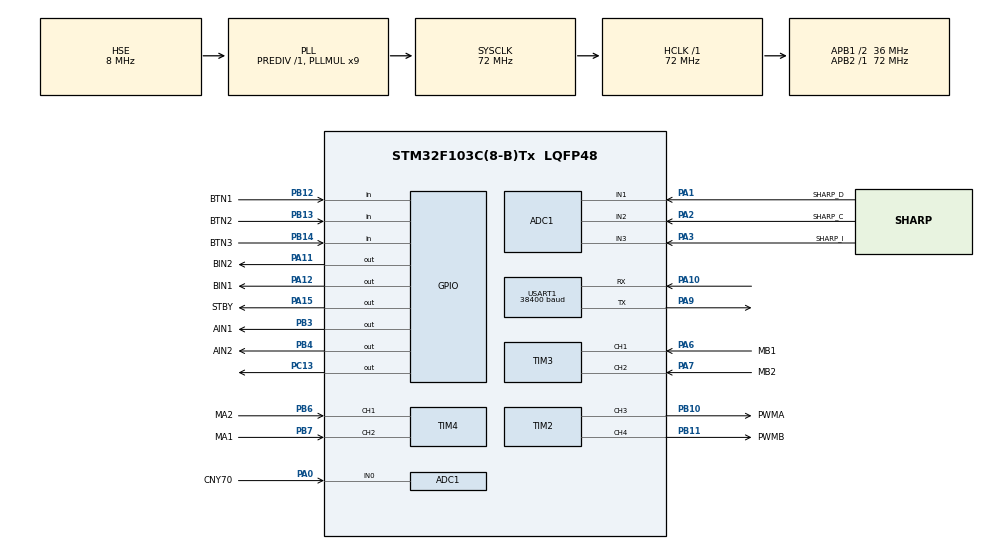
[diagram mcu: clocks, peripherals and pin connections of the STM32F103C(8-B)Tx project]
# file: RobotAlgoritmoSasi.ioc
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ADC1.Channel-1\#ChannelRegularConversion=ADC_CHANNEL_0
ADC1.Channel-2\#ChannelRegularConversion=ADC_CHANNEL_1
ADC1.Channel-3\#ChannelRegularConversion=ADC_CHANNEL_2
ADC1.Channel-4\#ChannelRegularConversion=ADC_CHANNEL_3
ADC1.ContinuousConvMode=ENABLE
ADC1.DiscontinuousConvMode=DISABLE
ADC1.EnableRegularConversion=ENABLE
ADC1.NbrOfConversion=4
ADC1.NbrOfConversionFlag=1
ADC1.Rank-1\#ChannelRegularConversion=1
ADC1.Rank-2\#ChannelRegularConversion=2
ADC1.Rank-3\#ChannelRegularConversion=3
ADC1.Rank-4\#ChannelRegularConversion=4
ADC1.SamplingTime-1\#ChannelRegularConversion=ADC_SAMPLETIME_71CYCLES_5
ADC1.SamplingTime-2\#ChannelRegularConversion=ADC_SAMPLETIME_71CYCLES_5
ADC1.SamplingTime-3\#ChannelRegularConversion=ADC_SAMPLETIME_71CYCLES_5
ADC1.SamplingTime-4\#ChannelRegularConversion=ADC_SAMPLETIME_71CYCLES_5
ADC1.master=1
Dma.ADC1.0.Direction=DMA_PERIPH_TO_MEMORY
Dma.ADC1.0.Instance=DMA1_Channel1
Dma.ADC1.0.MemDataAlignment=DMA_MDATAALIGN_WORD
Dma.ADC1.0.MemInc=DMA_MINC_ENABLE
Dma.ADC1.0.Mode=DMA_CIRCULAR
Dma.ADC1.0.PeriphDataAlignment=DMA_PDATAALIGN_WORD
Dma.ADC1.0.PeriphInc=DMA_PINC_DISABLE
Dma.ADC1.0.Priority=DMA_PRIORITY_LOW
Dma.Request0=ADC1
Mcu.Family=STM32F1
Mcu.Name=STM32F103C(8-B)Tx
Mcu.Package=LQFP48
NVIC.DMA1_Channel1_IRQn=true\:0\:0\:false\:false\:true\:false\:true\:true
NVIC.PriorityGroup=NVIC_PRIORITYGROUP_4
NVIC.USART1_IRQn=true\:0\:0\:false\:false\:true\:true\:true\:true
PA0-WKUP.GPIO_Label=CNY70
PA0-WKUP.Signal=ADCx_IN0
PA1.GPIO_Label=SHARP_D
PA1.Signal=ADCx_IN1
PA10.Mode=Asynchronous
PA10.Signal=USART1_RX
PA11.GPIO_Label=BIN2
PA11.Signal=GPIO_Output
PA12.GPIO_Label=BIN1
PA12.Signal=GPIO_Output
PA13.Mode=Serial_Wire
PA13.Signal=SYS_JTMS-SWDIO
PA14.Mode=Serial_Wire
PA14.Signal=SYS_JTCK-SWCLK
PA15.GPIO_Label=STBY
PA15.Signal=GPIO_Output
PA2.GPIO_Label=SHARP_C
PA2.Signal=ADCx_IN2
PA3.GPIO_Label=SHARP_I
PA3.Signal=ADCx_IN3
PA6.GPIO_Label=MB1
PA6.Signal=S_TIM3_CH1
PA7.GPIO_Label=MB2
PA7.Signal=S_TIM3_CH2
PA9.Mode=Asynchronous
PA9.Signal=USART1_TX
PB10.GPIO_Label=PWMA
PB10.Signal=S_TIM2_CH3
PB11.GPIO_Label=PWMB
PB11.Signal=S_TIM2_CH4
PB12.GPIO_Label=BTN1
PB12.Signal=GPIO_Input
PB13.GPIO_Label=BTN2
PB13.Signal=GPIO_Input
PB14.GPIO_Label=BTN3
PB14.Signal=GPIO_Input
PB3.GPIO_Label=AIN1
PB3.Signal=GPIO_Output
PB4.GPIO_Label=AIN2
PB4.Signal=GPIO_Output
PB6.GPIO_Label=MA2
PB6.GPIO_Mode=GPIO_MODE_INPUT
PB6.GPIO_PuPd=GPIO_NOPULL
PB6.Signal=S_TIM4_CH1
PB7.GPIO_Label=MA1
PB7.Signal=S_TIM4_CH2
PC13-TAMPER-RTC.Signal=GPIO_Output
PD0-OSC_IN.Mode=HSE-External-Oscillator
PD0-OSC_IN.Signal=RCC_OSC_IN
PD1-OSC_OUT.Mode=HSE-External-Oscillator
PD1-OSC_OUT.Signal=RCC_OSC_OUT
ProjectManager.HeapSize=0x200
ProjectManager.StackSize=0x400
ProjectManager.TargetToolchain=STM32CubeIDE
RCC.ADCPresc=RCC_ADCPCLK2_DIV6
RCC.AHBFreq_Value=72000000
RCC.APB1CLKDivider=RCC_HCLK_DIV2
RCC.APB1Freq_Value=36000000
RCC.APB1TimFreq_Value=72000000
RCC.APB2Freq_Value=72000000
RCC.APB2TimFreq_Value=72000000
RCC.HCLKFreq_Value=72000000
RCC.PLLMUL=RCC_PLL_MUL9
RCC.PLLSourceVirtual=RCC_PLLSOURCE_HSE
RCC.SYSCLKFreq_VALUE=72000000
RCC.SYSCLKSource=RCC_SYSCLKSOURCE_PLLCLK
RCC.USBFreq_Value=72000000
SH.ADCx_IN0.0=ADC1_IN0,IN0
SH.ADCx_IN1.0=ADC1_IN1,IN1
SH.ADCx_IN2.0=ADC1_IN2,IN2
SH.ADCx_IN3.0=ADC1_IN3,IN3
SH.S_TIM2_CH3.0=TIM2_CH3,PWM Generation3 CH3
SH.S_TIM2_CH4.0=TIM2_CH4,PWM Generation4 CH4
SH.S_TIM3_CH1.0=TIM3_CH1,Encoder_Interface
SH.S_TIM3_CH2.0=TIM3_CH2,Encoder_Interface
SH.S_TIM4_CH1.0=TIM4_CH1,Encoder_Interface
SH.S_TIM4_CH2.0=TIM4_CH2,Encoder_Interface
TIM2.Channel-PWM\ Generation3\ CH3=TIM_CHANNEL_3
TIM2.Channel-PWM\ Generation4\ CH4=TIM_CHANNEL_4
TIM3.AutoReloadPreload=TIM_AUTORELOAD_PRELOAD_ENABLE
TIM3.EncoderMode=TIM_ENCODERMODE_TI12
TIM3.IC1Filter=10
TIM3.IC2Filter=0
TIM4.AutoReloadPreload=TIM_AUTORELOAD_PRELOAD_ENABLE
TIM4.CounterMode=TIM_COUNTERMODE_UP
TIM4.EncoderMode=TIM_ENCODERMODE_TI12
TIM4.IC1Filter=10
TIM4.IC1Prescaler=TIM_ICPSC_DIV1
TIM4.IC2Filter=0
USART1.BaudRate=38400
USART1.VirtualMode=VM_ASYNC
board=custom

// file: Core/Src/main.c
/* USER CODE BEGIN Header */
/**
 ******************************************************************************
 * @file           : main.c
 * @brief          : Main program body
 ******************************************************************************
 * @attention
 *
 * Copyright (c) 2022 STMicroelectronics.
 * All rights reserved.
 *
 * This software is licensed under terms that can be found in the LICENSE file
 * in the root directory of this software component.
 * If no LICENSE file comes with this software, it is provided AS-IS.
 *
 ******************************************************************************
 */
/* USER CODE END Header */
#include "main.h"
#include "adc.h"
#include "dma.h"
#include "tim.h"
#include "usart.h"
#include "gpio.h"

/* USER CODE BEGIN Includes */
#include "sharp.h"
#include "motors.h"
#include "stdlib.h"
#include "string.h"
#include "stdio.h"
#include "math.h"
#include <float.h>
/* USER CODE END Includes */

/* USER CODE BEGIN PD */
#define ADC_BUF_LEN 1024
/* USER CODE END PD */

/* USER CODE BEGIN PV */
uint32_t adc_buf[ADC_BUF_LEN];
uint32_t CNY70[10];
uint32_t SHARP_1[10];
uint32_t SHARP_2[10];
uint32_t SHARP_3[10];
static float Sensors[4];
int direcciones[4];
uint8_t serialBuf[100];
/* USER CODE END PV */

void SystemClock_Config(void);

/* USER CODE BEGIN 0 */
int powerA;
int powerB;
uint8_t RX_BUFFER[1] = { 0 };
uint8_t TX_BUFFER[12] = { 0, 0, 0, 0, 0, 0, 0, 0, 0, 0, 0, 0 };
float KP, KD, tiempoDelay;
float velocity;
long ticksNow;
int timerForward = 1000;
int timerLeft = 1000;
int timerRight = 1000;
float KPchoice[2] = { 150, 500 }; //17                           //Elección de constante proporcional del PID
float KDchoice[2] = { 40, 5 }; //0.5                          //Elección de constante derivada del PID
float velocityChoice[2] = { 1000, 1000 };
int baseChoice[2] = { 10000, 15000 }; //150
int forwardChoice[2] = { 310, 290 };
int RightChoice[2] = { 155, 155 };
int LeftChoice[2] = { 155, 155 };
int choice;
int c, m, directionsSize, movimiento;
int finishFlag, movimientoFlag;
int valueCNY;
int direcciones[4];
int offset;
int counter;
int tick;

int mainState = SETUP;
int robotState = READING;
int movementState = OFF;
char directions[25];
int directionsSize;
Position actual;
Position last;
Node Map[alto][ancho];
float error, pid, previousError, elapsedTime, timeNow, timePrev, pidP, pidD;
int motLeft, motRight;
int q;
/*Position visual;
 Node VisualMap[ALTO][ANCHO];*/
/* USER CODE END 0 */

int main(void) {

	/* MCU Configuration--------------------------------------------------------*/

	/* Reset of all peripherals, Initializes the Flash interface and the Systick. */
	HAL_Init();

	/* Configure the system clock */
	SystemClock_Config();

	/* Initialize all configured peripherals */
	MX_GPIO_Init();
	MX_DMA_Init();
	MX_TIM4_Init();
	MX_TIM3_Init();
	MX_ADC1_Init();
	MX_USART1_UART_Init();
	MX_TIM2_Init();
	/* USER CODE BEGIN 2 */
	HAL_TIM_PWM_Start(&htim2, TIM_CHANNEL_3);
	HAL_TIM_PWM_Start(&htim2, TIM_CHANNEL_4);
	HAL_TIM_Encoder_Start(&htim4, TIM_CHANNEL_ALL);
	HAL_TIM_Encoder_Start(&htim3, TIM_CHANNEL_ALL);
	HAL_GPIO_WritePin(STBY, GPIO_PIN_SET);
	TIM2->CCR3 = 15000;
	TIM2->CCR4 = 15000;
	HAL_ADC_Start_DMA(&hadc1, (uint32_t*) adc_buf, ADC_BUF_LEN);
	HAL_GPIO_WritePin(GPIOC, GPIO_PIN_13, 0);
	TIM3->CNT = 0;
	TIM4->CNT = 0;
	/* USER CODE END 2 */

	/* Infinite loop */
	while (1) {

		/* USER CODE BEGIN 3 */
		mainMachine();
		//intUartSend(Sensors[0]);
		//intUartSend(Sensors[3]);
		//intUartSend(Sensors[3]);

		/*HAL_GetTick()
		 * int d = calcularDistancia(TIM4->CNT);
		 if (calcularDistancia(TIM4->CNT) < 100) {

		 } else {
		 HAL_GPIO_WritePin(GPIOC, GPIO_PIN_13, 1);
		 runMotor(OFF, MOTOR_A);
		 runMotor(OFF, MOTOR_B);
		 }*/
		//sprintf(MSG, TIM4->CNT);
		//runForward();
	}
	/* USER CODE END 3 */
}

void SystemClock_Config(void) {
	RCC_OscInitTypeDef RCC_OscInitStruct = { 0 };
	RCC_ClkInitTypeDef RCC_ClkInitStruct = { 0 };
	RCC_PeriphCLKInitTypeDef PeriphClkInit = { 0 };

	/** Initializes the RCC Oscillators according to the specified parameters
	 * in the RCC_OscInitTypeDef structure.
	 */
	RCC_OscInitStruct.OscillatorType = RCC_OSCILLATORTYPE_HSE;
	RCC_OscInitStruct.HSEState = RCC_HSE_ON;
	RCC_OscInitStruct.HSEPredivValue = RCC_HSE_PREDIV_DIV1;
	RCC_OscInitStruct.HSIState = RCC_HSI_ON;
	RCC_OscInitStruct.PLL.PLLState = RCC_PLL_ON;
	RCC_OscInitStruct.PLL.PLLSource = RCC_PLLSOURCE_HSE;
	RCC_OscInitStruct.PLL.PLLMUL = RCC_PLL_MUL9;
	if (HAL_RCC_OscConfig(&RCC_OscInitStruct) != HAL_OK) {
		Error_Handler();
	}

	/** Initializes the CPU, AHB and APB buses clocks
	 */
	RCC_ClkInitStruct.ClockType = RCC_CLOCKTYPE_HCLK | RCC_CLOCKTYPE_SYSCLK
			| RCC_CLOCKTYPE_PCLK1 | RCC_CLOCKTYPE_PCLK2;
	RCC_ClkInitStruct.SYSCLKSource = RCC_SYSCLKSOURCE_PLLCLK;
	RCC_ClkInitStruct.AHBCLKDivider = RCC_SYSCLK_DIV1;
	RCC_ClkInitStruct.APB1CLKDivider = RCC_HCLK_DIV2;
	RCC_ClkInitStruct.APB2CLKDivider = RCC_HCLK_DIV1;

	if (HAL_RCC_ClockConfig(&RCC_ClkInitStruct, FLASH_LATENCY_2) != HAL_OK) {
		Error_Handler();
	}
	PeriphClkInit.PeriphClockSelection = RCC_PERIPHCLK_ADC;
	PeriphClkInit.AdcClockSelection = RCC_ADCPCLK2_DIV6;
	if (HAL_RCCEx_PeriphCLKConfig(&PeriphClkInit) != HAL_OK) {
		Error_Handler();
	}
}

/* USER CODE BEGIN 4 */
void intUartSend(int entero) {

	int m;
	int c;
	int d;
	int u;

	m = entero / 1000;
	c = entero / 100 - m * 10;
	d = entero / 10 - (m * 100 + c * 10);
	u = entero - (m * 1000 + c * 100 + d * 10);

	TX_BUFFER[0] = m + '0';
	TX_BUFFER[1] = c + '0';
	TX_BUFFER[2] = d + '0';
	TX_BUFFER[3] = u + '0';
	TX_BUFFER[4] = '\n';
	HAL_UART_Transmit(&huart1, TX_BUFFER, 5, 100);
}

void mainMachine() {
	switch (mainState) {
	case SETUP:
		actual.x = ALTO;
		actual.y = ANCHO;
		/*visual.x = 0;
		 visual.y = 0;*/
		resetAxis();
		movimientoFlag = 0;
		finishFlag = 0;
		if (!HAL_GPIO_ReadPin(BTN1)) {
			// Set The LED ON!
			HAL_GPIO_WritePin(GPIOC, GPIO_PIN_13, GPIO_PIN_SET);
			choice = SLOW;
			velocity = velocityChoice[SLOW];
			TIM2->CCR3 = baseChoice[SLOW];
			TIM2->CCR4 = baseChoice[SLOW];
			KP = KPchoice[SLOW];
			KD = KDchoice[SLOW];
			mainState = MAPPING;
		}
		if (!HAL_GPIO_ReadPin(BTN2)) {
			// Set The LED ON!
			mainState = RACING;
			//directions = ReadRun();
			//ShowRun();
		}
		if (!HAL_GPIO_ReadPin(BTN3)) {
			// Set The LED ON!
			HAL_GPIO_WritePin(GPIOC, GPIO_PIN_13, GPIO_PIN_SET);
			choice = FAST;
			velocity = velocityChoice[FAST];
			TIM2->CCR3 = baseChoice[FAST];
			TIM2->CCR4 = baseChoice[FAST];
			KP = KPchoice[FAST];
			KD = KDchoice[FAST];
			mainState = MAPPING;
		}
		//confirmacionCentrado();
		break;
	case MAPPING:
		if (finishFlag == 0) {
			robotMachine();
			/*TX_BUFFER[0] = 'L';
			 HAL_UART_Transmit(&huart1, TX_BUFFER, sizeof(TX_BUFFER), 100);*/
		} else {
			TX_BUFFER[0] = 'X';
			HAL_UART_Transmit(&huart1, TX_BUFFER, 1, 100);
			intUartSend(actual.x);
			TX_BUFFER[0] = 'Y';
			HAL_UART_Transmit(&huart1, TX_BUFFER, 1, 100);
			intUartSend(actual.y);
			actual.x = ALTO;
			actual.y = ANCHO;
			//visual.x = 0;
			//visual.y = 0;
			finishFlag = 0;
			resetAxis();
			//PrintMap();
			mainState = RESOLUTION;
		}
		break;
	case RESOLUTION:
		if (Map[actual.x][actual.y].final == 0) {
			addDirection(actual.x, actual.y);
			TX_BUFFER[0] = 'X';
			HAL_UART_Transmit(&huart1, TX_BUFFER, 1, 100);
			intUartSend(actual.x);
			TX_BUFFER[0] = 'Y';
			HAL_UART_Transmit(&huart1, TX_BUFFER, 1, 100);
			intUartSend(actual.y);
		} else {
			//directions = optimizeDirections(directions);
			//SerialBT.println(directions);
			// UploadRun(directions);
			mainState = SETUP;
		}

		break;
	case RACING:
		runDirections(directions);
		break;
	}

}

void robotMachine() {
	switch (robotState) {
	case READING:
		TX_BUFFER[0] = 'X';
		TX_BUFFER[1] = actual.x + '0';
		TX_BUFFER[2] = '\n';
		TX_BUFFER[3] = 'Y';
		TX_BUFFER[4] = actual.y + '0';
		TX_BUFFER[5] = '\n';
		HAL_UART_Transmit(&huart1, TX_BUFFER, 6, 100);
		Map[actual.x][actual.y].visitado++;
		if (Map[actual.x][actual.y].visitado == 1) {
			runMotor(OFF, MOTOR_A);
			runMotor(OFF, MOTOR_B);
			CreateNode(actual.x, actual.y);
			TX_BUFFER[0] = 'D';
			HAL_UART_Transmit(&huart1, TX_BUFFER, 1, 100);
			intUartSend(Sensors[1]);
			TX_BUFFER[0] = 'C';
			HAL_UART_Transmit(&huart1, TX_BUFFER, 1, 100);
			intUartSend(Sensors[2]);
			TX_BUFFER[0] = 'I';
			HAL_UART_Transmit(&huart1, TX_BUFFER, 1, 100);
			intUartSend(Sensors[3]);
			TX_BUFFER[0] = 'D';
			TX_BUFFER[1] = Map[actual.x][actual.y].Lados[DERECHA] + '0';
			TX_BUFFER[2] = '\n';
			TX_BUFFER[3] = 'C';
			TX_BUFFER[4] = Map[actual.x][actual.y].Lados[ADELANTE] + '0';
			TX_BUFFER[5] = '\n';
			TX_BUFFER[6] = 'I';
			TX_BUFFER[7] = Map[actual.x][actual.y].Lados[IZQUIERDA] + '0';
			TX_BUFFER[8] = '\n';
			TX_BUFFER[9] = 'A';
			TX_BUFFER[10] = Map[actual.x][actual.y].Lados[ATRAS] + '0';
			TX_BUFFER[11] = '\n';
			HAL_UART_Transmit(&huart1, TX_BUFFER, 12, 100);
		}
		TX_BUFFER[0] = 'D';
		TX_BUFFER[1] = Map[actual.x][actual.y].Lados[DERECHA] + '0';
		TX_BUFFER[2] = '\n';
		TX_BUFFER[3] = 'C';
		TX_BUFFER[4] = Map[actual.x][actual.y].Lados[ADELANTE] + '0';
		TX_BUFFER[5] = '\n';
		TX_BUFFER[6] = 'I';
		TX_BUFFER[7] = Map[actual.x][actual.y].Lados[IZQUIERDA] + '0';
		TX_BUFFER[8] = '\n';
		TX_BUFFER[9] = 'A';
		TX_BUFFER[10] = Map[actual.x][actual.y].Lados[ATRAS] + '0';
		TX_BUFFER[11] = '\n';
		HAL_UART_Transmit(&huart1, TX_BUFFER, 12, 100);
		valueCNY = Sensors[0];
		if (valueCNY == BLANCO) {
			Map[actual.x][actual.y].final = 1;
			finishFlag = 1;
		} else {
			Map[actual.x][actual.y].final = 0;
			robotState = CHOOSING;
		}
		HAL_GPIO_WritePin(GPIOC, GPIO_PIN_13, GPIO_PIN_SET);
		break;
	case CHOOSING:
		movimiento = ChooseNextNode(actual.x, actual.y);
		TX_BUFFER[0] = 'M';
		TX_BUFFER[1] = movimiento + '0';
		TX_BUFFER[2] = '\n';
		HAL_UART_Transmit(&huart1, TX_BUFFER, 3, 100);
		if (movimiento == IZQUIERDA) {

			if (Map[actual.x][actual.y].Lados[direcciones[ATRAS]] != 1) {
				Map[actual.x][actual.y].Lados[direcciones[ATRAS]] = 2;
			}
			moveNode(direcciones[IZQUIERDA]);
			rotateAxis(IZQUIERDA);

			counter--;
		} else if (movimiento == DERECHA) {

			if (Map[actual.x][actual.y].Lados[direcciones[ATRAS]] != 1) {
				Map[actual.x][actual.y].Lados[direcciones[ATRAS]] = 2;
			}
			moveNode(direcciones[DERECHA]);
			rotateAxis(DERECHA);

			counter++;
		} else if (movimiento == ATRAS) {
			counter++;
			counter++;
			moveNode(direcciones[ATRAS]);
			rotateAxis(DERECHA);
			rotateAxis(DERECHA);

		}

		TX_BUFFER[0] = '*';
		TX_BUFFER[1] = '*';
		TX_BUFFER[2] = '\n';
		HAL_UART_Transmit(&huart1, TX_BUFFER, 3, 100);
		movimientoFlag = 0;
		ticksNow = HAL_GetTick();
		robotState = MOVING;

		break;
	case MOVING:
		//TX_BUFFER[0] = 'M';
		//HAL_UART_Transmit(&huart1, TX_BUFFER, sizeof(TX_BUFFER), 100);
		HAL_GPIO_WritePin(GPIOC, GPIO_PIN_13, GPIO_PIN_RESET);
		movementMachine(movimiento);

		if (movimientoFlag == 1) {
			robotState = READING;
		}
		break;
	}
}

void runDirections(char moves[25]) {
	if (moves[m] == 'a') {
		movementMachine(ADELANTE);
	} else if (moves[m] == 'd') {
		movementMachine(DERECHA);
	} else if (moves[m] == 'i') {
		movementMachine(IZQUIERDA);
	}/* else {
	 movementMachine(SUPER);
	 }*/
	TX_BUFFER[0] = moves[m];
	HAL_UART_Transmit(&huart1, TX_BUFFER, 1, 100);
	if (movimientoFlag == 1) {
		m++;
		movimientoFlag = 0;
	}
}

void addDirection(int x, int y) {

	if (Map[x][y].Lados[direcciones[ADELANTE]] != 1) {
		Map[x][y].Lados[direcciones[ADELANTE]] = 2;
		moveNode(ADELANTE);
		directions[directionsSize] = 'a';
	} else if (Map[x][y].Lados[direcciones[IZQUIERDA]] != 1) {
		Map[x][y].Lados[direcciones[IZQUIERDA]] = 2;
		moveNode(IZQUIERDA);
		rotateAxis(IZQUIERDA);
		directions[directionsSize] = 'i';
	} else if (Map[x][y].Lados[direcciones[DERECHA]] != 1) {
		Map[x][y].Lados[direcciones[DERECHA]] = 2;
		moveNode(DERECHA);
		rotateAxis(DERECHA);
		directions[directionsSize] = 'd';
	}
	intUartSend(Map[x][y].Lados[direcciones[ADELANTE]]);
	intUartSend(Map[x][y].Lados[direcciones[IZQUIERDA]]);
	intUartSend(Map[x][y].Lados[direcciones[DERECHA]]);
	TX_BUFFER[0] = 'D';
	TX_BUFFER[1] = directions[directionsSize];
	TX_BUFFER[2] = '\n';
	HAL_UART_Transmit(&huart1, TX_BUFFER, 3, 100);
	directionsSize++;

}

int ChooseNextNode(int x, int y) {
	if (Map[x][y].Lados[direcciones[ADELANTE]] == 0) {
		TX_BUFFER[0] = 'A';
		TX_BUFFER[1] = '\n';
		HAL_UART_Transmit(&huart1, TX_BUFFER, 2, 100);
		Map[x][y].Lados[direcciones[ADELANTE]] = 2;
		if (Map[x][y].visitado > 1) {
			EliminateNode(x, y);
		}
		moveNode(direcciones[ADELANTE]);
		if (Map[x][y].Lados[direcciones[ATRAS]] != 1)
			Map[x][y].Lados[direcciones[ATRAS]] = 2;
		TX_BUFFER[0] = 'D';
		TX_BUFFER[1] = Map[x][y].Lados[DERECHA] + '0';
		TX_BUFFER[2] = '\n';
		TX_BUFFER[3] = 'C';
		TX_BUFFER[4] = Map[x][y].Lados[ADELANTE] + '0';
		TX_BUFFER[5] = '\n';
		TX_BUFFER[6] = 'I';
		TX_BUFFER[7] = Map[x][y].Lados[IZQUIERDA] + '0';
		TX_BUFFER[8] = '\n';
		TX_BUFFER[9] = 'A';
		TX_BUFFER[10] = Map[x][y].Lados[ATRAS] + '0';
		TX_BUFFER[11] = '\n';
		HAL_UART_Transmit(&huart1, TX_BUFFER, 12, 100);

		return ADELANTE;
	} else if (Map[x][y].Lados[direcciones[IZQUIERDA]] == 0) {
		TX_BUFFER[0] = 'I';
		TX_BUFFER[1] = '\n';
		HAL_UART_Transmit(&huart1, TX_BUFFER, 2, 100);
		Map[x][y].Lados[direcciones[IZQUIERDA]] = 2;

		if (Map[x][y].visitado > 1) {
			EliminateNode(x, y);
		}
		TX_BUFFER[0] = 'D';
		TX_BUFFER[1] = Map[x][y].Lados[DERECHA] + '0';
		TX_BUFFER[2] = '\n';
		TX_BUFFER[3] = 'C';
		TX_BUFFER[4] = Map[x][y].Lados[ADELANTE] + '0';
		TX_BUFFER[5] = '\n';
		TX_BUFFER[6] = 'I';
		TX_BUFFER[7] = Map[x][y].Lados[IZQUIERDA] + '0';
		TX_BUFFER[8] = '\n';
		TX_BUFFER[9] = 'A';
		TX_BUFFER[10] = Map[x][y].Lados[ATRAS] + '0';
		TX_BUFFER[11] = '\n';
		HAL_UART_Transmit(&huart1, TX_BUFFER, 12, 100);

		return IZQUIERDA;
	} else if (Map[x][y].Lados[direcciones[DERECHA]] == 0) {
		TX_BUFFER[0] = 'D';
		TX_BUFFER[1] = '\n';
		HAL_UART_Transmit(&huart1, TX_BUFFER, 2, 100);
		Map[x][y].Lados[direcciones[DERECHA]] = 2;
		if (Map[x][y].visitado > 1) {
			EliminateNode(x, y);
		}
		TX_BUFFER[0] = 'D';
		TX_BUFFER[1] = Map[x][y].Lados[DERECHA] + '0';
		TX_BUFFER[2] = '\n';
		TX_BUFFER[3] = 'C';
		TX_BUFFER[4] = Map[x][y].Lados[ADELANTE] + '0';
		TX_BUFFER[5] = '\n';
		TX_BUFFER[6] = 'I';
		TX_BUFFER[7] = Map[x][y].Lados[IZQUIERDA] + '0';
		TX_BUFFER[8] = '\n';
		TX_BUFFER[9] = 'A';
		TX_BUFFER[10] = Map[x][y].Lados[ATRAS] + '0';
		TX_BUFFER[11] = '\n';
		HAL_UART_Transmit(&huart1, TX_BUFFER, 12, 100);
		return DERECHA;
	} else {
		TX_BUFFER[0] = 'O';
		TX_BUFFER[1] = '\n';
		HAL_UART_Transmit(&huart1, TX_BUFFER, 2, 100);
		TX_BUFFER[0] = 'D';
		TX_BUFFER[1] = Map[x][y].Lados[DERECHA] + '0';
		TX_BUFFER[2] = '\n';
		TX_BUFFER[3] = 'C';
		TX_BUFFER[4] = Map[x][y].Lados[ADELANTE] + '0';
		TX_BUFFER[5] = '\n';
		TX_BUFFER[6] = 'I';
		TX_BUFFER[7] = Map[x][y].Lados[IZQUIERDA] + '0';
		TX_BUFFER[8] = '\n';
		TX_BUFFER[9] = 'A';
		TX_BUFFER[10] = Map[x][y].Lados[ATRAS] + '0';
		TX_BUFFER[11] = '\n';
		HAL_UART_Transmit(&huart1, TX_BUFFER, 12, 100);
		return SearchAvailableNode(x, y);
	}
	last.x = x;
	last.y = y;
}

void EliminateNode(int x, int y) {
//Serial.println("Borro");
	Map[x][y].Lados[direcciones[ATRAS]] = 1;
	Map[last.x][last.y].visitado = 0;
}

int SearchAvailableNode(int x, int y) {
	if (Map[x][y].Lados[direcciones[ADELANTE]] != 1) {
		//Serial.println("Adelante1");
		Map[x][y].Lados[direcciones[ADELANTE]] = 2;
		moveNode(ADELANTE);
		if (Map[x][y].visitado > 1) {
			EliminateNode(x, y);
		}
		return ADELANTE;
	} else if (Map[x][y].Lados[direcciones[IZQUIERDA]] != 1) {
		//Serial.println("IZQUIERDA1");
		Map[x][y].Lados[direcciones[IZQUIERDA]] = 2;
		moveNode(IZQUIERDA);
		//rotateAxis(IZQUIERDA);
		if (Map[x][y].visitado > 1) {
			EliminateNode(x, y);
		}
		return IZQUIERDA;
	} else if (Map[x][y].Lados[direcciones[DERECHA]] != 1) {
		//Serial.println("DERECHA1");
		Map[x][y].Lados[direcciones[DERECHA]] = 2;
		moveNode(DERECHA);
		if (Map[x][y].visitado > 1) {
			EliminateNode(x, y);
		}
		//rotateAxis(DERECHA);
		return DERECHA;
	} else if (Map[x][y].Lados[direcciones[ATRAS]] != 1) {
		//Serial.println("atras1");
		return ATRAS;
	}
	return 0;
}
void moveNode(int lado) {
	switch (lado) {
	case ADELANTE:
		//if (visual.y != ALTO - 1) {
		actual.y++;
		//visual.y++;
		//}
		break;
	case IZQUIERDA:
		//if (visual.x != 0) {
		actual.x--;
		//visual.x--;
		//}
		break;
	case DERECHA:
		// if (visual.x != ANCHO - 1) {
		actual.x++;
		// visual.x++;
		// }
		break;
	case ATRAS:
		// if (visual.y != 0) {
		actual.y--;
		// visual.y--;
		// }

		break;
	}
}
void movementMachine(int move) {
	switch (movementState) {
	case OFF:
		runMotor(OFF, MOTOR_A);
		runMotor(OFF, MOTOR_B);
		if (move != OFF) {
			movementState = move;
			TIM3->CNT = 0;
			TIM4->CNT = 0;
		}
		break;
	case ADELANTE:
		tick = HAL_GetTick();
		intUartSend(tick);
		if (calcularDistancia((TIM3->CNT) >> 1) < forwardChoice[choice]
				|| calcularDistancia((TIM4->CNT) >> 1)
						< forwardChoice[choice]) {
			moveStraight();
			runMotor(ADELANTE, MOTOR_A);
			runMotor(ADELANTE, MOTOR_B);
		} else {
			movimientoFlag = 1;
			movementState = OFF;
			runMotor(OFF, MOTOR_A);
			runMotor(OFF, MOTOR_B);
			TIM3->CNT = 0;
			TIM4->CNT = 0;
			offset = 0;
		}
		break;
	case IZQUIERDA:
		TIM2->CCR3 = baseChoice[choice];
		TIM2->CCR4 = baseChoice[choice];
		if (calcularDistancia((TIM3->CNT) >> 1) < LeftChoice[choice]) {
			runMotor(ATRAS, MOTOR_A);
			runMotor(ADELANTE, MOTOR_B);
		} else {
			movementState = ADELANTE;
			runMotor(OFF, MOTOR_A);
			runMotor(OFF, MOTOR_B);
			TIM3->CNT = 0;
			TIM4->CNT = 0;
			offset = 30;
		}
		break;
	case DERECHA:
		TIM2->CCR3 = baseChoice[choice];
		TIM2->CCR4 = baseChoice[choice];
		if (calcularDistancia((TIM4->CNT) >> 1) < RightChoice[choice]) {
			runMotor(ADELANTE, MOTOR_A);
			runMotor(ATRAS, MOTOR_B);
		} else {
			movementState = ADELANTE;
			runMotor(OFF, MOTOR_A);
			runMotor(OFF, MOTOR_B);
			TIM3->CNT = 0;
			TIM4->CNT = 0;
			offset = 30;
		}
		break;
	case ATRAS:
		TIM2->CCR3 = baseChoice[choice];
		TIM2->CCR4 = baseChoice[choice];
		if (calcularDistancia((TIM4->CNT) >> 1) < RightChoice[choice] * 2) {
			runMotor(ADELANTE, MOTOR_A);
			runMotor(ATRAS, MOTOR_B);
		} else {
				movementState = ADELANTE;
				runMotor(OFF, MOTOR_A);
				runMotor(OFF, MOTOR_B);
				TIM3->CNT = 0;
				TIM4->CNT = 0;
				offset = 30;
			}
		break;
		/*case SUPER:
		 int X = directions[m] - '0';
		 if (calcularDistancia(counterD) < FORWARD_DISTANCE * X
		 && calcularDistancia(counterI) < FORWARD_DISTANCE * X) {
		 estabilizacion();
		 powerA = 200;
		 powerB = 200;
		 runForward(powerA, powerB);
		 } else {
		 movimientoFlag = 1;
		 movementState = OFF;
		 }
		 break;*/
	}
}

void CreateNode(int x, int y) {
	Map[x][y].Lados[direcciones[ADELANTE]] = lecturaSensor(ADELANTE, Sensors);
	Map[x][y].Lados[direcciones[IZQUIERDA]] = lecturaSensor(IZQUIERDA, Sensors);
	Map[x][y].Lados[direcciones[DERECHA]] = lecturaSensor(DERECHA, Sensors);
	Map[x][y].Lados[direcciones[ATRAS]] = lecturaSensor(ATRAS, Sensors);

}

void rotateAxis(int direccion) {
	switch (direccion) {
	case DERECHA:
		for (int i = 0; i < 4; i++) {
			direcciones[i] = direcciones[i] - 1;
			if (direcciones[i] == -1) {
				direcciones[i] = 3;
			}
		}
		break;
	case IZQUIERDA:
		for (int j = 0; j < 4; j++) {
			direcciones[j] = direcciones[j] + 1;
			if (direcciones[j] == 4) {
				direcciones[j] = 0;
			}
		}
		break;
	}
}

void resetAxis() {
	for (int i = 0; i < 4; i++) {
		direcciones[i] = i;
	}
}

void PrintMap() {
	for (int i = 0; i < alto; i++) {
		for (int j = 0; j < ancho; j++) {
			//SerialBT.print(Map[i][j].visitado);
			//SerialBT.print(" ");
		}
		//SerialBT.println();
	}
}

// Called when buffer is completely filled
void HAL_ADC_ConvCpltCallback(ADC_HandleTypeDef *hadc) {
	for (int i = 0; i < 10; i++) {
		CNY70[i] = adc_buf[i * 4];
		SHARP_1[i] = adc_buf[i * 4 + 1];
		SHARP_2[i] = adc_buf[i * 4 + 2];
		SHARP_3[i] = adc_buf[i * 4 + 3];
	}
	Sensors[0] = lecturaCNY70(10, CNY70);
	Sensors[1] = lecSensor(10, SHARP_1);
	Sensors[2] = lecSensor(10, SHARP_2);
	Sensors[3] = lecSensor(10, SHARP_3);

}

uint32_t MAP(uint32_t au32_IN, uint32_t au32_INmin, uint32_t au32_INmax,
		uint32_t au32_OUTmin, uint32_t au32_OUTmax) {
	return ((((au32_IN - au32_INmin) * (au32_OUTmax - au32_OUTmin))
			/ (au32_INmax - au32_INmin)) + au32_OUTmin);
}

int constrain(int x, int a, int b) {
	if (x < a) {
		return a;
	} else if (b < x) {
		return b;
	} else
		return x;
}

void moveStraight() {
	if (Sensors[3] < 22) {
		//intUartSend(0);
		error = Sensors[3] - 11;
	}/* else if (Sensors[3] < 22) {
	 //intUartSend(1);
	 error = Sensors[3] ;
	 } else if (Sensors[1] < 22) {
	 //intUartSend(2);
	 error = 14 - Sensors[1];
	 } else {
	 //intUartSend(3);
	 error = 0;
	 }*/

	timePrev = timeNow;
	timeNow = HAL_GetTick();
	elapsedTime = (timeNow - timePrev) / 1000;
	pidD = KD * ((error - previousError) / elapsedTime);
	pidP = KP * error;
	pid = pidP + pidD;
	if (pid > velocity) {
		//intUartSend(1);
		pid = velocity;
	}
	if (pid < -velocity) {
		//intUartSend(0);
		pid = -velocity;
	}
	//intUartSend(abs(pid));
	motLeft = velocity - pid;
	motRight = velocity + pid;
	if (motLeft < 0) {
		motLeft = 0;
	}
	if (motRight < 0) {
		motRight = 0;
	}

	previousError = error;
	motRight = constrain(motRight, -1000, 1000);
	motLeft = constrain(motLeft, -1000, 1000);

	motRight = MAP(motRight, -1000, 1000, 0, baseChoice[choice] * 2);
	motLeft = MAP(motLeft, -1000, 1000, 0, baseChoice[choice] * 2);
	TIM2->CCR3 = motLeft;
	TIM2->CCR4 = motRight;
}

void runForward() {
	runMotor(ADELANTE, MOTOR_A);
	runMotor(ADELANTE, MOTOR_B);
}
/* USER CODE END 4 */

void Error_Handler(void) {
	__disable_irq();
	while (1) {
	}
}
